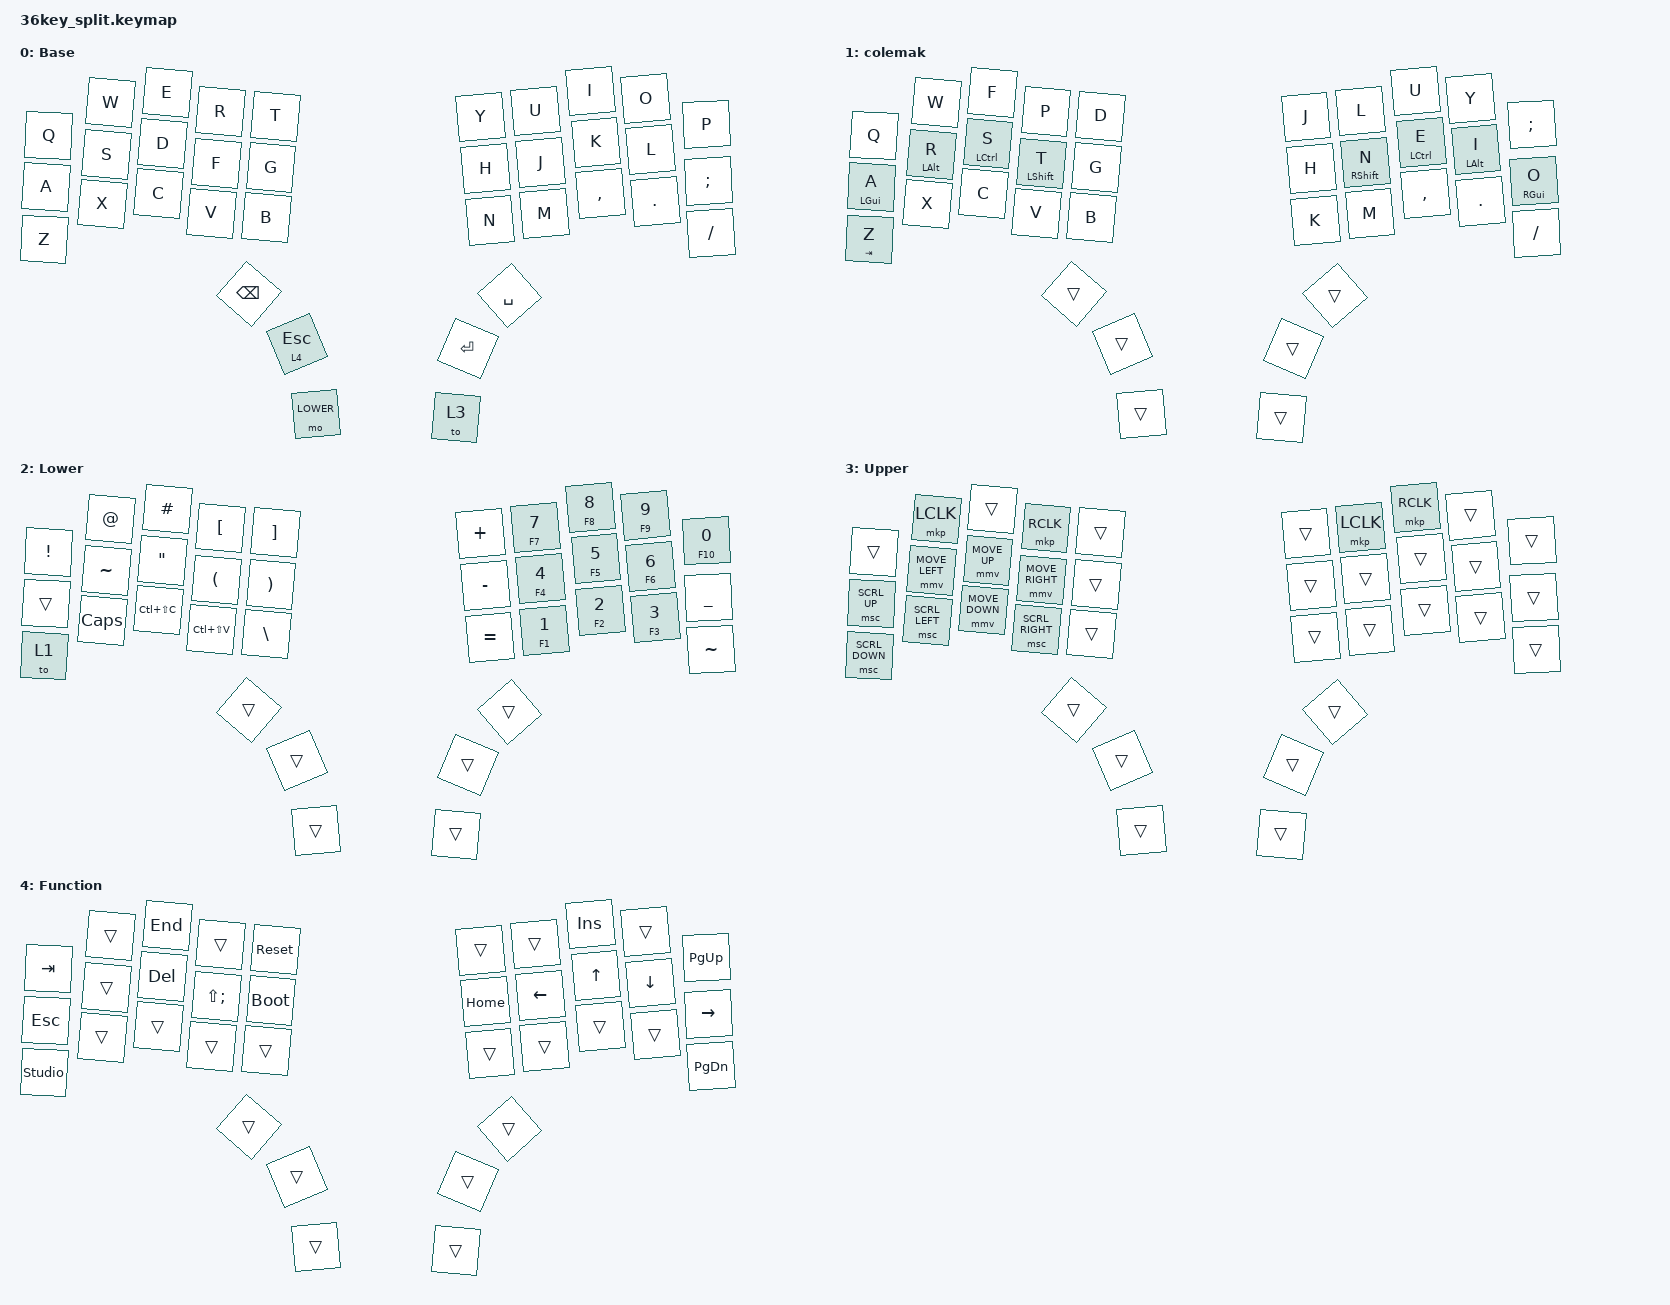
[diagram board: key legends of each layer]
/*
 * Copyright (c) 2023 The ZMK Contributors
 *
 * SPDX-License-Identifier: MIT
 */

#include <behaviors.dtsi>
#include <dt-bindings/zmk/bt.h>
#include <dt-bindings/zmk/keys.h>
#include "mouse.dtsi"
#include "zmk-helpers/helper.h"
#include "zmk-helpers/key-labels/36.h"
#define KEYS_L LT0 LT1 LT2 LT3 LT4 LM0 LM1 LM2 LM3 LM4 LB0 LB1 LB2 LB3 LB4  // left-hand keys
#define KEYS_R RT0 RT1 RT2 RT3 RT4 RM0 RM1 RM2 RM3 RM4 RB0 RB1 RB2 RB3 RB4  // right-hand keys
#define THUMBS LH2 LH1 LH0 RH0 RH1 RH2                                      // thumb keys

// key-position labels
#define BASE     0
#define COLEMAK  1
#define LOWER    2
#define UPPER    3
#define FUNCTION 4 
#define META     5

/ {
    keymap {
        compatible = "zmk,keymap";
        BASE {
            display-name = "Base";
            bindings = <
&kp Q           &kp W        &kp E        &kp R        &kp T         &kp Y         &kp U        &kp I        &kp O        &kp P
&kp A           &kp S        &kp D        &kp F        &kp G         &kp H         &kp J        &kp K        &kp L        &kp SEMI
&kp Z           &kp X        &kp C        &kp V        &kp B         &kp N         &kp M        &kp COMMA    &kp DOT      &kp SLASH
                             &kp BSPC     &lt 4 ESC    &mo LOWER     &to 3     &kp ENTER     &kp SPACE
            >;
        };

        COLEMAK {
            display-name = "colemak";
            bindings = <
&kp Q           &kp W       &kp F        &kp P        &kp D          &kp J  &kp L        &kp U        &kp Y       &kp SEMI
&hml LEFT_GUI A &hml LALT R &hml LCTRL S &hml LSHFT T &kp G          &kp H  &hmr RSHFT N &hmr LCTRL E &hmr LALT I &hmr RGUI O
&mt TAB Z       &kp X       &kp C        &kp V        &kp B          &kp K  &kp M        &kp COMMA    &kp DOT     &kp SLASH
                            &trans       &trans       &trans         &trans &trans       &trans
            >;
        };

        LOWER {
            display-name = "Lower";
            bindings = <
&kp EXCL      &kp AT       &kp HASH      &kp LBKT      &kp RBKT       &kp PLUS  &mt F7 N7 &mt F8 N8 &mt F9 N9 &mt F10 N0
&trans        &kp TILDE    &kp DQT       &kp LEFT_PARENTHESIS  &kp RIGHT_PARENTHESIS  &kp MINUS &mt F4 N4 &mt F5 N5 &mt F6 N6 &kp UNDER
&to 1         &kp CAPS     &kp LC(LS(C)) &kp LC(LS(V)) &kp BSLH       &kp EQUAL &mt F1 N1 &mt F2 N2 &mt F3 N3 &kp TILDE
                           &trans        &trans        &trans         &trans    &trans      &trans
            >;
        };

        UPPER {
            display-name = "Upper";
            bindings = <
&trans         &mkp LCLK      &trans         &mkp RCLK       &trans   &trans    &mkp LCLK   &mkp RCLK   &trans &trans
&msc SCRL_UP   &mmv MOVE_LEFT &mmv MOVE_UP   &mmv MOVE_RIGHT &trans   &trans    &trans      &trans      &trans &trans
&msc SCRL_DOWN &msc SCRL_LEFT &mmv MOVE_DOWN &msc SCRL_RIGHT &trans   &trans    &trans      &trans      &trans &trans
                              &trans         &trans          &trans   &trans    &trans      &trans
            >;
        }; 

        FUNCTION {
            display-name = "Function";
            bindings = <
&kp TAB        &trans      &kp END &trans   &sys_reset      &trans    &trans    &kp INS  &trans    &kp PG_UP
&kp ESC        &trans      &kp DEL &kp LS(SEMI)  &bootloader      &kp HOME  &kp LEFT  &kp UP   &kp DOWN  &kp RIGHT
&studio_unlock &trans      &trans  &trans  &trans            &trans    &trans    &trans   &trans    &kp PG_DN
                           &trans  &trans  &trans            &trans    &trans    &trans
            >;
        };
    };
};


/* left-hand HRMs */
ZMK_HOLD_TAP(hml,
    flavor = "balanced";
    tapping-term-ms = <280>;
    quick-tap-ms = <175>;                // repeat on tap-into-hold
    require-prior-idle-ms = <150>;
    bindings = <&kp>, <&kp>;
    hold-trigger-key-positions = <KEYS_R THUMBS>;
    hold-trigger-on-release;             // delay positional check until key-release
)

/* right-hand HRMs */
ZMK_HOLD_TAP(hmr,
    flavor = "balanced";
    tapping-term-ms = <280>;
    quick-tap-ms = <175>;       // repeat on tap-into-hold
    require-prior-idle-ms = <150>;
    bindings = <&kp>, <&kp>;
    hold-trigger-key-positions = <KEYS_L THUMBS>;
    hold-trigger-on-release;             // delay positional check until key-release
)
/* / {
    combos {
      compatible = "zmk,combos";
        combo_mouse {
            timeout-ms = <250>;
            require-prior-idle-ms = <100>;
            key-positions = <LB1 LB0>;
            key-positions = <LB1 LB0>;
            bindings = <&tog 3>;
        };
        combo_upper {
            timeout-ms = <250>;
            require-prior-idle-ms = <100>;
            key-positions = <RT1 RT0>;
            bindings = <&tog 1>;
        };
    };
}; */

 #define COMBO(NAME, BINDINGS, KEYPOS, LAYERS, TERM, QUICKTAP, ...) \
    combo_##NAME { \
        timeout-ms = <TERM>; \
        bindings = <BINDINGS>; \
        key-positions = <KEYPOS>; \
        layers = <LAYERS>; \
        require-prior-idle-ms = <QUICKTAP>; \
        __VA_ARGS__ \
    };
/*                              36 KEY MATRIX / LAYOUT MAPPING

  ╭────────────────────┬────────────────────╮ ╭─────────────────────┬─────────────────────╮
  │  0   1   2   3   4 │  5   6   7   8   9 │ │ LT4 LT3 LT2 LT1 LT0 │ RT0 RT1 RT2 RT3 RT4 │
  │ 10  11  12  13  14 │ 15  16  17  18  19 │ │ LM4 LM3 LM2 LM1 LM0 │ RM0 RM1 RM2 RM3 RM4 │
  │ 20  21  22  23  24 │ 25  26  27  28  29 │ │ LB4 LB3 LB2 LB1 LB0 │ RB0 RB1 RB2 RB3 RB4 │
  ╰───────╮ 30  31  32 │ 33  34  35 ╭───────╯ ╰───────╮ LH2 LH1 LH0 │ RH0 RH1 RH2 ╭───────╯
          ╰────────────┴────────────╯                 ╰─────────────┴─────────────╯             */
/ {
    combos {
      compatible = "zmk,combos";
COMBO(mouse,     &tog 3,               LB1 LB0,    COLEMAK UPPER,        250, 100)
COMBO(upper,     &tog 1,               RT3 RT4,    BASE COLEMAK,         250, 100)
COMBO(l_par,     &kp LEFT_PARENTHESIS,  LT1 LT0,    COLEMAK,              250, 100)
COMBO(r_par,     &kp RIGHT_PARENTHESIS, RT1 RT0,    COLEMAK,              250, 100)
COMBO(l_brck,    &kp LBKT,              LM1 LM0,    COLEMAK,              250, 100)
COMBO(r_brck,    &kp RBKT,              RM1 RM0,    COLEMAK,              250, 100)
COMBO(l_brace,   &kp LBRC,              LM0 LT0,    COLEMAK,              250, 100)
COMBO(r_brace,   &kp RBRC,              RM0 RT0,    COLEMAK,              250, 100)
COMBO(lf_mkp,    &mkp LCLK,             LT3 LT2,    COLEMAK,              250, 100)
COMBO(rf_mkp,    &mkp RCLK,             LT2 LT1,    COLEMAK,              250, 100)
    };
};

